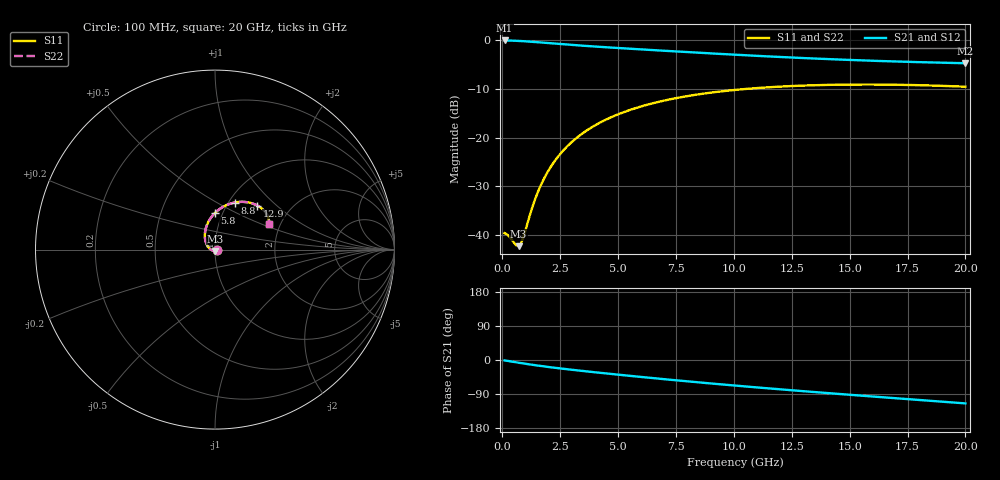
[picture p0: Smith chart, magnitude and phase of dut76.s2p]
! Created with skrf 1.9.0 (http://scikit-rf.org).
# GHz S RI R 50.0
!freq ReS11 ImS11 ReS21 ImS21 ReS12 ImS12 ReS22 ImS22
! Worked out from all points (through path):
!   200 points, 100 MHz to 20 GHz, reference 50 ohm
!   highest |S21| = -0.09 dB at 100 MHz (marker M1); lowest = -4.8 dB at 20 GHz (marker M2)
!   group delay of S21, straight-line fit = 15.1 ps
!   lowest |S11| = -42.2 dB at 700 MHz (marker M3), VSWR 1.02, Z = 50 - j0.772 ohm
!   |S11| at or under -10 dB: start of sweep to 10.59 GHz
!   |S22| runs from -42.2 to -9.1 dB; largest |S21 - S12| = 2e-15
!   S11 on the Smith chart (normalised r, x): 100 MHz: 1.02, -0.00; 5.8 GHz: 0.92, +0.39; 8.8 GHz: 1.07, +0.61; 12.9 GHz: 1.37, +0.76; 20 GHz: 1.74, +0.56
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0.1  0.0104 -0.00151  0.989 -0.0179  0.989 -0.0179  0.0104 -0.00151
0.3  0.0087 -0.00431  0.9858 -0.0535  0.9858 -0.0535  0.0087 -0.00431
0.6  0.00305 -0.00727  0.9758 -0.1049  0.9758 -0.1049  0.00305 -0.00727
0.7  0.000449 -0.00771  0.9712 -0.1213  0.9712 -0.1213  0.000449 -0.00771
0.8  -0.00243 -0.00781  0.9662 -0.1373  0.9662 -0.1373  -0.00243 -0.00781
0.9  -0.00555 -0.00754  0.9606 -0.1529  0.9606 -0.1529  -0.00555 -0.00754
1.3  -0.0193 -0.00248  0.9346 -0.2106  0.9346 -0.2106  -0.0193 -0.00248
1.5  -0.0262 0.00238  0.9201 -0.2367  0.9201 -0.2367  -0.0262 0.00238
1.9  -0.0388 0.0161  0.8892 -0.2839  0.8892 -0.2839  -0.0388 0.0161
2.2  -0.0463 0.0292  0.8655 -0.3153  0.8655 -0.3153  -0.0463 0.0292
2.6  -0.0532 0.049  0.8336 -0.353  0.8336 -0.353  -0.0532 0.049
3  -0.0564 0.0703  0.8019 -0.3869  0.8019 -0.3869  -0.0564 0.0703
3.5  -0.0554 0.0974  0.7627 -0.4249  0.7627 -0.4249  -0.0554 0.0974
4.5  -0.0401 0.1484  0.6849 -0.4898  0.6849 -0.4898  -0.0401 0.1484
5.8  -0.00244 0.2019  0.5841 -0.5557  0.5841 -0.5557  -0.00244 0.2019
6.8  0.0337 0.2315  0.507 -0.5936  0.507 -0.5936  0.0337 0.2315
8.8  0.1103 0.2624  0.3579 -0.6402  0.3579 -0.6402  0.1103 0.2624
10.1  0.1567 0.2661  0.2674 -0.6531  0.2674 -0.6531  0.1567 0.2661
12.9  0.2362 0.2453  0.0933 -0.648  0.0933 -0.648  0.2362 0.2453
13.4  0.247 0.239  0.0652 -0.6436  0.0652 -0.6436  0.247 0.239
16.7  0.2927 0.1896  -0.1009 -0.5967  -0.1009 -0.5967  0.2927 0.1896
20  0.2999 0.143  -0.2402 -0.526  -0.2402 -0.526  0.2999 0.143
